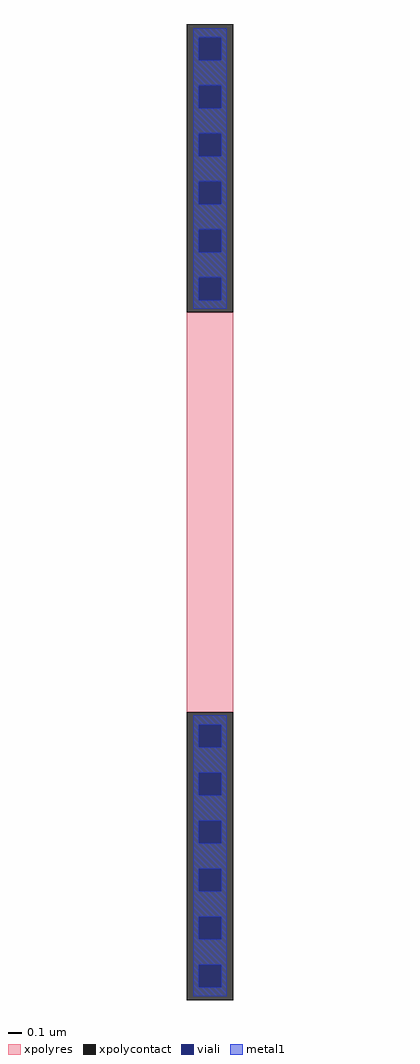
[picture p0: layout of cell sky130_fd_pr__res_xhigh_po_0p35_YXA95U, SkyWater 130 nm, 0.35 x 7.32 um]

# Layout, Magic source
magic
tech sky130A
magscale 1 2
<< xpolycontact >>
rect -35 300 35 732
rect -35 -732 35 -300
<< xpolyres >>
rect -35 -300 35 300
<< viali >>
rect -17 678 17 712
rect -17 606 17 640
rect -17 534 17 568
rect -17 462 17 496
rect -17 390 17 424
rect -17 318 17 352
rect -17 -353 17 -319
rect -17 -425 17 -391
rect -17 -497 17 -463
rect -17 -569 17 -535
rect -17 -641 17 -607
rect -17 -713 17 -679
<< metal1 >>
rect -25 712 25 726
rect -25 678 -17 712
rect 17 678 25 712
rect -25 640 25 678
rect -25 606 -17 640
rect 17 606 25 640
rect -25 568 25 606
rect -25 534 -17 568
rect 17 534 25 568
rect -25 496 25 534
rect -25 462 -17 496
rect 17 462 25 496
rect -25 424 25 462
rect -25 390 -17 424
rect 17 390 25 424
rect -25 352 25 390
rect -25 318 -17 352
rect 17 318 25 352
rect -25 305 25 318
rect -25 -319 25 -305
rect -25 -353 -17 -319
rect 17 -353 25 -319
rect -25 -391 25 -353
rect -25 -425 -17 -391
rect 17 -425 25 -391
rect -25 -463 25 -425
rect -25 -497 -17 -463
rect 17 -497 25 -463
rect -25 -535 25 -497
rect -25 -569 -17 -535
rect 17 -569 25 -535
rect -25 -607 25 -569
rect -25 -641 -17 -607
rect 17 -641 25 -607
rect -25 -679 25 -641
rect -25 -713 -17 -679
rect 17 -713 25 -679
rect -25 -726 25 -713
<< end >>
